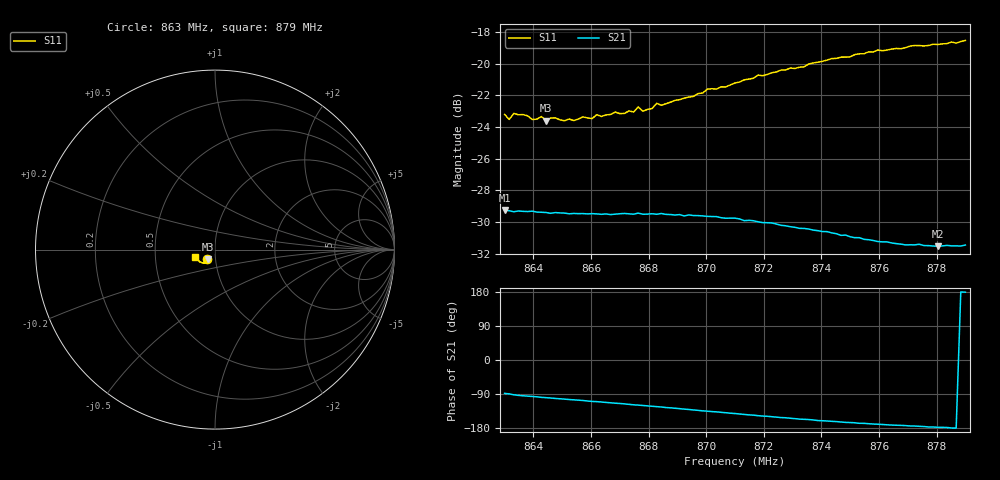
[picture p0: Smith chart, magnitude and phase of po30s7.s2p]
# HZ S RI R 50
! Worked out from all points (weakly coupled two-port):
!   101 points, 863 MHz to 879 MHz, reference 50 ohm
!   highest |S21| = -29.23 dB at 863 MHz (marker M1); lowest = -31.5 dB at 878.04 MHz (marker M2)
!   lowest |S11| = -23.6 dB at 864.44 MHz (marker M3), VSWR 1.14, Z = 46 - j4.96 ohm
!   |S11| at or under -10 dB: start of sweep to end of sweep
!   S12 and S22 are empty: the file has one direction only
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8.63e8  -0.0423 -0.0547  0.00111 -0.0345  0 0  0 0
8.6316e8  -0.0386 -0.0544  0.000356 -0.0344  0 0  0 0
8.6332e8  -0.0434 -0.0545  -0.00109 -0.0341  0 0  0 0
8.6396e8  -0.0397 -0.0536  -0.00369 -0.0341  0 0  0 0
8.6428e8  -0.0396 -0.0554  -0.00507 -0.0336  0 0  0 0
8.6444e8  -0.0386 -0.0536  -0.00553 -0.0335  0 0  0 0
8.6476e8  -0.0392 -0.0549  -0.00674 -0.0332  0 0  0 0
8.654e8  -0.0364 -0.0552  -0.00878 -0.0325  0 0  0 0
8.6572e8  -0.0357 -0.0578  -0.00978 -0.0322  0 0  0 0
8.6604e8  -0.0349 -0.0573  -0.0111 -0.0317  0 0  0 0
8.662e8  -0.0377 -0.0578  -0.0114 -0.0316  0 0  0 0
8.6748e8  -0.0345 -0.0614  -0.0159 -0.0295  0 0  0 0
8.6764e8  -0.0368 -0.0631  -0.0164 -0.0295  0 0  0 0
8.678e8  -0.035 -0.0615  -0.0167 -0.029  0 0  0 0
8.6812e8  -0.0363 -0.0624  -0.0179 -0.0285  0 0  0 0
8.6828e8  -0.0368 -0.0653  -0.0183 -0.0281  0 0  0 0
8.6844e8  -0.0361 -0.0645  -0.0188 -0.0279  0 0  0 0
8.71e8  -0.0478 -0.0725  -0.0254 -0.0204  0 0  0 0
8.7372e8  -0.0672 -0.0747  -0.0277 -0.0111  0 0  0 0
8.7644e8  -0.0925 -0.0616  -0.0269 -0.00392  0 0  0 0
8.7804e8  -0.1037 -0.0494  -0.0265 -0.00111  0 0  0 0
8.79e8  -0.1116 -0.0394  -0.0268 0.000486  0 0  0 0
